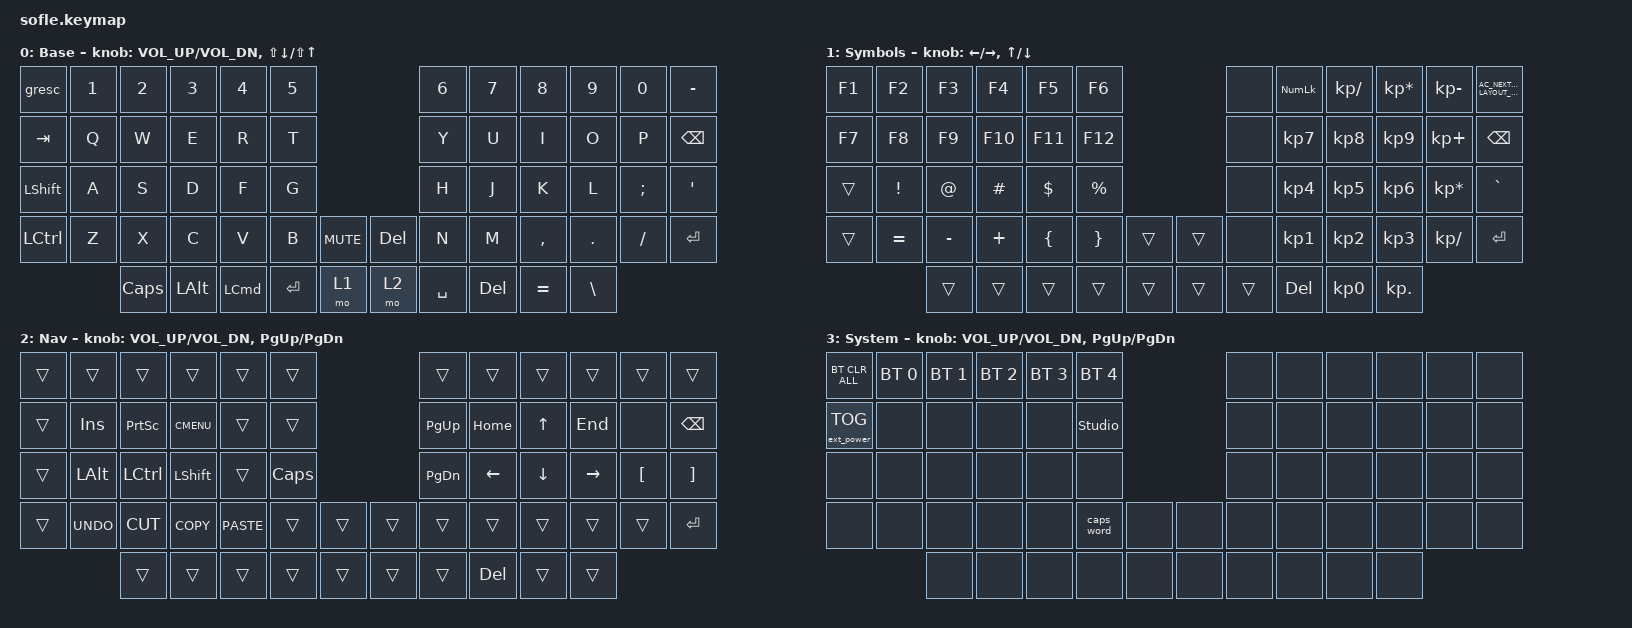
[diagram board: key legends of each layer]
/*
 * Copyright (c) 2020 The ZMK Contributors
 *
 * SPDX-License-Identifier: MIT
 */

#include <behaviors.dtsi>
#include <dt-bindings/zmk/bt.h>
#include <dt-bindings/zmk/ext_power.h>
#include <dt-bindings/zmk/keys.h>

// Encoders

&sensors { triggers-per-rotation = <30>; };

&left_encoder { steps = <60>; };

&right_encoder { steps = <60>; };

#define BASE 0
#define LOWER 1
#define RAISE 2
#define ADJUST 3

/ {
    // Activate ADJUST layer by pressing raise and lower

    conditional_layers {
        compatible = "zmk,conditional-layers";

        adjust_layer {
            if-layers = <LOWER RAISE>;
            then-layer = <ADJUST>;
        };
    };

    combos {
        compatible = "zmk,combos";

        backspace {
            bindings = <&kp BACKSPACE>;
            key-positions = <32 31>;
        };

        delete {
            bindings = <&kp DELETE>;
            key-positions = <27 33>;
        };

        esc {
            bindings = <&kp ESCAPE>;
            key-positions = <25 41>;
        };
    };

    behaviors {
        caps: caps {
            compatible = "zmk,behavior-caps-word";
            label = "CAPS";
            #binding-cells = <0>;
            continue-list = <POUND MINUS BACKSPACE UNDERSCORE>;
        };
    };

    keymap {
        compatible = "zmk,keymap";

        default_layer {
            display-name = "Base";

            // ------------------------------------------------------------------------------------------------------------
            // |   `   |  1  |  2  |  3   |  4   |  5   |                   |  6   |  7    |  8    |  9   |   0   |       |
            // |  ESC  |  Q  |  W  |  E   |  R   |  T   |                   |  Y   |  U    |  I    |  O   |   P   | BKSPC |
            // |  TAB  |  A  |  S  |  D   |  F   |  G   |                   |  H   |  J    |  K    |  L   |   ;   |   '   |
            // | SHIFT |  Z  |  X  |  C   |  V   |  B   |  MUTE  |  |       |  N   |  M    |  ,    |  .   |   /   | SHIFT |
            //               | GUI | ALT  | CTRL | LOWER|  ENTER |  | SPACE | RAISE| CTRL  | ALT   | GUI  |

            bindings = <
&gresc            &kp N1  &kp N2        &kp N3    &kp N4    &kp N5                             &kp N6     &kp N7      &kp N8     &kp N9         &kp N0    &kp MINUS
&kp TAB           &kp Q   &kp W         &kp E     &kp R     &kp T                              &kp Y      &kp U       &kp I      &kp O          &kp P     &kp BSPC
&kp LEFT_SHIFT    &kp A   &kp S         &kp D     &kp F     &kp G                              &kp H      &kp J       &kp K      &kp L          &kp SEMI  &kp SQT
&kp LEFT_CONTROL  &kp Z   &kp X         &kp C     &kp V     &kp B    &kp C_MUTE    &kp DELETE  &kp N      &kp M       &kp COMMA  &kp DOT        &kp FSLH  &kp RETURN
                          &kp CAPSLOCK  &kp LALT  &kp LCMD  &kp RET  &mo 1         &mo 2       &kp SPACE  &kp DELETE  &kp EQUAL  &kp BACKSLASH
            >;

            sensor-bindings =
                <&inc_dec_kp C_VOL_UP C_VOL_DN>,
                <&inc_dec_kp LS(DOWN) LS(UP_ARROW)>;
        };

        lower_layer {
            display-name = "Symbols";

            // TODO: Some binds are waiting for shifted keycode support.
            // ------------------------------------------------------------------------------------------------------------
            // |       |  F1 |  F2 |  F3  |  F4  |  F5  |                   |  F6  |  F7   |  F8   |  F9  |  F10  |  F11  |
            // |   `   |  1  |  2  |  3   |  4   |  5   |                   |  6   |  7    |  8    |  9   |   0   |  F12  |
            // |       |  !  |  @  |  #   |  $   |  %   |                   |  ^   |  &    |  *    |  (   |   )   |   |   |
            // |       |  =  |  -  |  +   |  {   |  }   |        |  |       |  [   |  ]    |  ;    |  :   |   \   |       |
            //               |     |      |      |      |        |  |       |      |       |       |      |

            bindings = <
&kp F1  &kp F2     &kp F3     &kp F4    &kp F5    &kp F6                       &none   &kp KP_NUMLOCK   &kp KP_DIVIDE    &kp KP_MULTIPLY  &kp KP_SUBTRACT  &kp C_AC_NEXT_KEYBOARD_LAYOUT_SELECT
&kp F7  &kp F8     &kp F9     &kp F10   &kp F11   &kp F12                      &none   &kp KP_NUMBER_7  &kp KP_NUMBER_8  &kp KP_NUMBER_9  &kp KP_PLUS      &kp BACKSPACE
&trans  &kp EXCL   &kp AT     &kp HASH  &kp DLLR  &kp PRCNT                    &none   &kp KP_NUMBER_4  &kp KP_NUMBER_5  &kp KP_NUMBER_6  &kp KP_MULTIPLY  &kp GRAVE
&trans  &kp EQUAL  &kp MINUS  &kp PLUS  &kp LBRC  &kp RBRC   &trans    &trans  &none   &kp KP_NUMBER_1  &kp KP_NUMBER_2  &kp KP_NUMBER_3  &kp KP_DIVIDE    &kp ENTER
                   &trans     &trans    &trans    &trans     &trans    &trans  &trans  &kp DELETE       &kp KP_NUMBER_0  &kp KP_DOT
            >;

            sensor-bindings =
                <&inc_dec_kp LEFT_ARROW RIGHT_ARROW>,
                <&inc_dec_kp UP_ARROW DOWN_ARROW>;
        };

        raise_layer {
            display-name = "Nav";

            // ------------------------------------------------------------------------------------------------------------
            // | BTCLR | BT1  | BT2  |  BT3  |  BT4  |  BT5 |                |      |      |       |      |       |       |
            // |       | INS  | PSCR | GUI   |       |      |                | PGUP |      |   ^   |      |       |       |
            // |       | ALT  | CTRL | SHIFT |       | CAPS |                | PGDN |   <- |   v   |  ->  |  DEL  | BKSPC |
            // |       | UNDO | CUT  | COPY  | PASTE |      |      |  |      |      |      |       |      |       |       |
            //                |      |       |       |      |      |  |      |      |      |       |      |

            bindings = <
&trans  &trans      &trans     &trans       &trans       &trans                      &trans     &trans      &trans    &trans     &trans            &trans
&trans  &kp INS     &kp PSCRN  &kp K_CMENU  &trans       &trans                      &kp PG_UP  &kp HOME    &kp UP    &kp END    &none             &kp BACKSPACE
&trans  &kp LALT    &kp LCTRL  &kp LSHFT    &trans       &kp CLCK                    &kp PG_DN  &kp LEFT    &kp DOWN  &kp RIGHT  &kp LEFT_BRACKET  &kp RIGHT_BRACKET
&trans  &kp K_UNDO  &kp K_CUT  &kp K_COPY   &kp K_PASTE  &trans    &trans    &trans  &trans     &trans      &trans    &trans     &trans            &kp ENTER
                    &trans     &trans       &trans       &trans    &trans    &trans  &trans     &kp DELETE  &trans    &trans
            >;

            sensor-bindings = <&inc_dec_kp C_VOL_UP C_VOL_DN &inc_dec_kp PG_UP PG_DN>;
        };

        adjust_layer {
            // ----------------------------------------------------------------------------------------------------------------------------
            // | BTCLR  |  BT1    |  BT2    |   BT3   |   BT4   |   BT5   |                  |      |      |       |      |       |       |
            // | EXTPWR | RGB_HUD | RGB_HUI | RGB_SAD | RGB_SAI | RGB_EFF |                  |      |      |       |      |       |       |
            // |        | RGB_BRD | RGB_BRI |         |         |         |                  |      |      |       |      |       |       |
            // |        |         |         |         |         |         | RGB_TOG | |      |      |      |       |      |       |       |
            //                    |         |         |         |         |         | |      |      |      |       |      |

            display-name = "System";
            bindings = <
&bt BT_CLR_ALL     &bt BT_SEL 0  &bt BT_SEL 1  &bt BT_SEL 2  &bt BT_SEL 3  &bt BT_SEL 4                    &none  &none  &none  &none  &none  &none
&ext_power EP_TOG  &none         &none         &none         &none         &studio_unlock                  &none  &none  &none  &none  &none  &none
&none              &none         &none         &none         &none         &none                           &none  &none  &none  &none  &none  &none
&none              &none         &none         &none         &none         &caps_word      &none    &none  &none  &none  &none  &none  &none  &none
                                 &none         &none         &none         &none           &none    &none  &none  &none  &none  &none
            >;

            sensor-bindings = <&inc_dec_kp C_VOL_UP C_VOL_DN &inc_dec_kp PG_UP PG_DN>;
        };
    };
};
